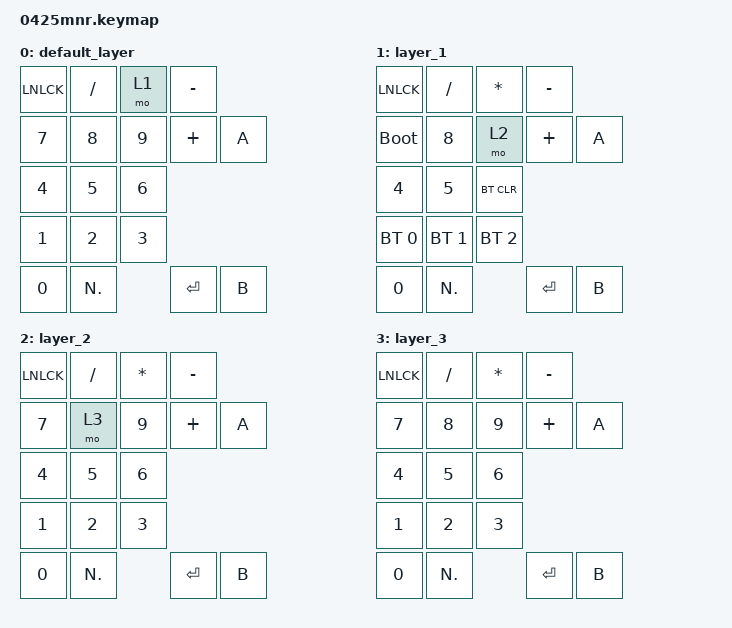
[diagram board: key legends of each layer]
#include <behaviors.dtsi>
#include <dt-bindings/zmk/keys.h>
#include <dt-bindings/zmk/bt.h>

&soft_off { hold-time-ms =<5000>; };

&bootloader { type = <RST_UF2>; };

/ {
        keymap {
                compatible = "zmk,keymap";

                default_layer {
// ----------------------------------------
// |  NUMLOCK |  /  |  *  |    -    |     |
// |     7    |  8  |  9  |    +    |  A  |
// |     4    |  5  |  6  |               |
// |     1    |  2  |  3  |               |
// |     0    |     |  .  |  ENTER  |  B  |
// ----------------------------------------

                        bindings = <
   &kp LNLCK  &kp SLASH  &mo 1  &kp MINUS
   &kp N7     &kp N8     &kp N9    &kp PLUS  &kp A
   &kp N4     &kp N5     &kp N6    
   &kp N1     &kp N2     &kp N3    
   &kp N0                &kp N.    &kp ENTER  &kp B
                        >;
                };
                layer_1 {
// ----------------------------------------
// |  NUMLOCK |  /  |  *  |    -    |     |
// |     7    |  8  |  9  |    +    |  A  |
// |     4    |  5  |  6  |               |
// |     1    |  2  |  3  |               |
// |     0    |     |  .  |  ENTER  |  B  |
// ----------------------------------------

                        bindings = <
   &kp LNLCK  &kp SLASH  &kp STAR  &kp MINUS
   &bootloader     &kp N8     &mo 2    &kp PLUS  &kp A
   &kp N4     &kp N5     &bt BT_CLR   
   &bt BT_SEL 0     &bt BT_SEL 1     &bt BT_SEL 2   
   &kp N0                &kp N.    &kp ENTER  &kp B
                        >;
                };

                layer_2 {
// ----------------------------------------
// |  NUMLOCK |  /  |  *  |    -    |     |
// |     7    |  8  |  9  |    +    |  A  |
// |     4    |  5  |  6  |               |
// |     1    |  2  |  3  |               |
// |     0    |     |  .  |  ENTER  |  B  |
// ----------------------------------------

                        bindings = <
   &kp LNLCK  &kp SLASH  &kp STAR  &kp MINUS
   &kp N7     &mo 3     &kp N9    &kp PLUS  &kp A
   &kp N4     &kp N5     &kp N6    
   &kp N1     &kp N2     &kp N3    
   &kp N0                &kp N.    &kp ENTER  &kp B
                        >;
                };

                layer_3 {
// ----------------------------------------
// |  NUMLOCK |  /  |  *  |    -    |     |
// |     7    |  8  |  9  |    +    |  A  |
// |     4    |  5  |  6  |               |
// |     1    |  2  |  3  |               |
// |     0    |     |  .  |  ENTER  |  B  |
// ----------------------------------------

                        bindings = <
   &kp LNLCK  &kp SLASH  &kp STAR  &kp MINUS
   &kp N7     &kp N8     &kp N9    &kp PLUS  &kp A
   &kp N4     &kp N5     &kp N6    
   &kp N1     &kp N2     &kp N3    
   &kp N0                &kp N.    &kp ENTER  &kp B
                        >;
                };       
        };
};
